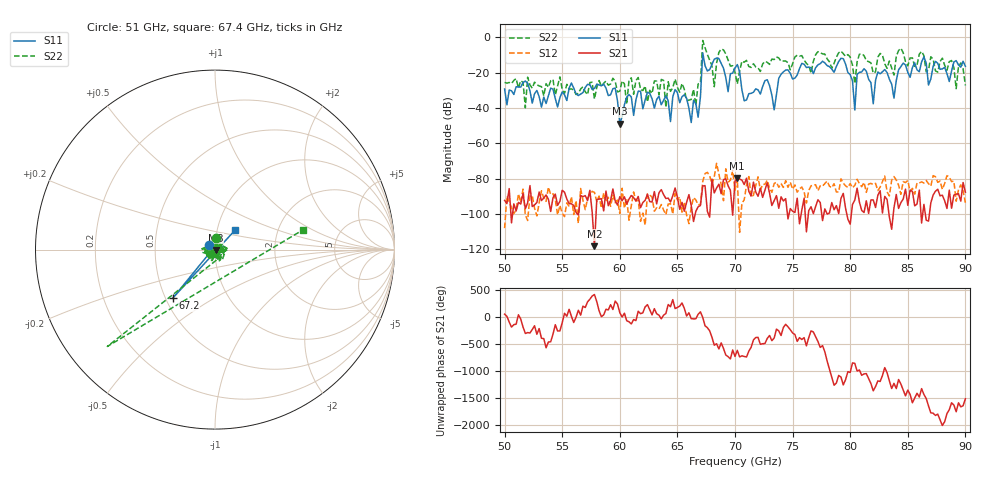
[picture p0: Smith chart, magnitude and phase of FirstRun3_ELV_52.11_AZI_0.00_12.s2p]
! 11/24/2026 3:32:44 PM
! C:\ANRITSUVNA\TEMP\TEMP.S2P
! CHANNEL.1
! TR.MEASUREMENT
! RAW.DATA
# HZ S RI R 50.0
! FREQ.HZ  S11RE  S11IM  S21RE  S21IM  S12RE  S12IM  S22RE  S22IM
!; PortSelection: Port_12
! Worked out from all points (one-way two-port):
!   201 points, 50 GHz to 90 GHz, reference 50 ohm
!   highest |S21| = -79.67 dB at 70.2 GHz (marker M1); lowest = -118.3 dB at 57.8 GHz (marker M2)
!   lowest |S11| = -48.9 dB at 60 GHz (marker M3), VSWR 1.01, Z = 50.3 - j0.154 ohm
!   |S11| at or under -10 dB: start of sweep to 67.19 GHz; 67.23 GHz to end of sweep
!   |S22| runs from -40.0 to -1.9 dB; largest |S21 - S12| = 0.00032
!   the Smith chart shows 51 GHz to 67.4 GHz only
!   S11 on the Smith chart (normalised r, x): 51 GHz: 0.94, +0.05; 67.2 GHz: 0.54, -0.34; 67.4 GHz: 1.22, +0.27
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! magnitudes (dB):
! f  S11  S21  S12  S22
! 50 GHz  -29.4  -92.4  -108.1  -25.6
! 51 GHz  -28.0  -98.4  -97.7  -23.4
! 56.8 GHz  -31.4  -90.2  -92.3  -28.1
! 57.8 GHz  -29.0  -118.3  -87.8  -35.1
! 59.6 GHz  -28.8  -92.7  -93.7  -25.0
! 60 GHz  -48.9  -90.3  -99.8  -30.5
! 63.4 GHz  -33.4  -88.0  -97.3  -32.6
! 66.8 GHz  -45.3  -95.9  -94.8  -26.5
! 67.2 GHz  -8.9  -84.2  -81.6  -1.9
! 67.4 GHz  -16.1  -84.0  -77.2  -5.9
! 68.2 GHz  -12.5  -88.2  -79.0  -28.0
! 68.8 GHz  -14.8  -88.6  -83.4  -6.7
! 70 GHz  -17.5  -81.4  -86.6  -19.9
! 70.2 GHz  -15.5  -79.7  -80.1  -26.5
! 73.4 GHz  -41.1  -92.5  -82.8  -12.6
! 74.2 GHz  -19.6  -92.7  -85.0  -13.5
! 76.8 GHz  -20.6  -99.9  -83.7  -13.6
! 79.4 GHz  -12.2  -88.4  -82.6  -9.4
! 80.4 GHz  -41.2  -92.2  -83.8  -26.2
! 80.6 GHz  -21.0  -85.4  -80.4  -14.0
! 83.4 GHz  -23.8  -101.7  -89.8  -13.5
! 90 GHz  -16.4  -87.7  -93.7  -27.3
